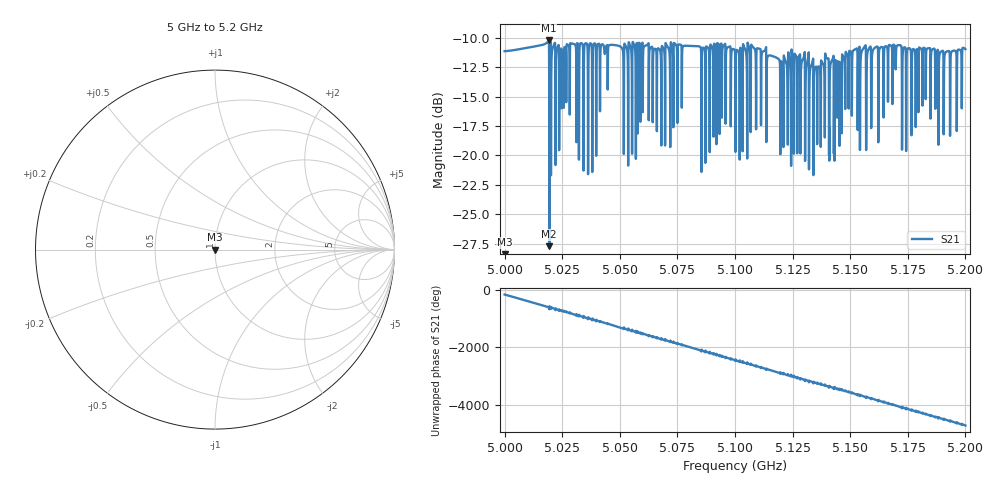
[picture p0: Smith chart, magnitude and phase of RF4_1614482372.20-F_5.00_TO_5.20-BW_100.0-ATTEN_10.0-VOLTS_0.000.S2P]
!Keysight Technologies,E5063A,MY54502693,A.05.04
!Date: Sat Feb 27 20:19:51 2021
!Data & Calibration Information:
!Freq	S11:NONE(--)	S21:NONE(--)	S12:NONE(--)	S22:NONE(--)
# Hz S RI R 50
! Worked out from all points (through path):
!   10000 points, 5 GHz to 5.2 GHz, reference 50 ohm
!   highest |S21| = -10.21 dB at 5.0191 GHz (marker M1); lowest = -27.7 dB at 5.0194 GHz (marker M2)
!   lowest |S11| = - dB at 5 GHz (marker M3), VSWR 1.00, Z = 50 + j0 ohm
!   |S11| at or under -10 dB: start of sweep to end of sweep
!   S12 and S22 are empty: the file has one direction only
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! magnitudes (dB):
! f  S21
! 5 GHz  -11.1
! 5.0182 GHz  -10.4
! 5.0191 GHz  -10.2
! 5.0194 GHz  -27.7
! 5.0294 GHz  -10.5
! 5.0333 GHz  -10.4
! 5.0667 GHz  -10.9
! 5.1 GHz  -11.2
! 5.1079 GHz  -10.8
! 5.1201 GHz  -12.0
! 5.1334 GHz  -12.2
! 5.1397 GHz  -11.7
! 5.1438 GHz  -11.9
! 5.152 GHz  -11.0
! 5.1541 GHz  -11.0
! 5.1558 GHz  -10.9
! 5.1667 GHz  -10.7
! 5.1713 GHz  -10.6
! 5.1734 GHz  -10.8
! 5.1838 GHz  -10.9
! 5.1878 GHz  -11.1
! 5.2 GHz  -10.9
